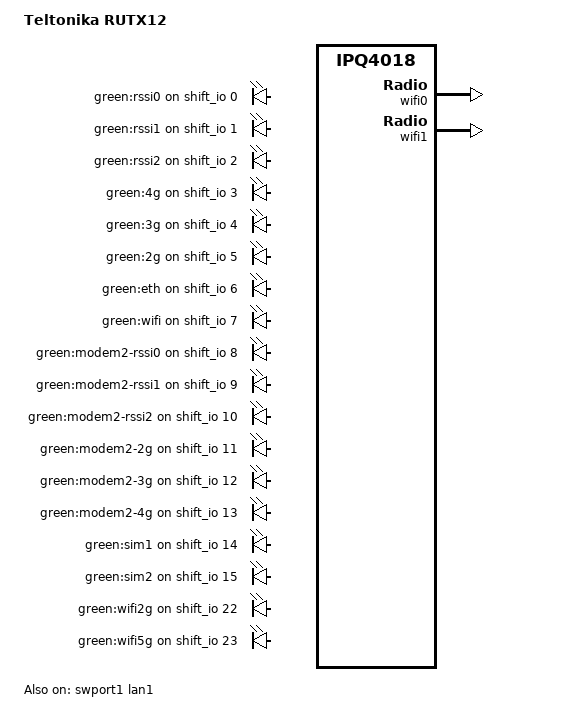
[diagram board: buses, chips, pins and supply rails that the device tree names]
// SPDX-License-Identifier: GPL-2.0-or-later OR MIT

#include "qcom-ipq4018-rutx-shiftreg.dtsi"

/ {
	model = "Teltonika RUTX12";
	compatible = "teltonika,rutx12";

	aliases {
		led-boot = &led_rssi0;
		led-failsafe = &led_rssi0;
		led-running = &led_rssi0;
		led-upgrade = &led_rssi0;
	};

	soc {
		gpio-export {
			gpio_out {
				gpio-export,name = "gpio_out";
				gpio-export,output = <0>;
				gpios = <&shift_io 20 GPIO_ACTIVE_HIGH>;
			};

			gpio_modem_reset {
				gpio-export,name = "modem_reset";
				gpio-export,output = <0>;
				gpios = <&shift_io 16 GPIO_ACTIVE_HIGH>;
			};

			gpio_modem_power {
				gpio-export,name = "modem_power";
				gpio-export,output = <0>;
				gpios = <&shift_io 17 GPIO_ACTIVE_HIGH>;
			};

			gpio_modem2_reset {
				gpio-export,name = "modem2_reset";
				gpio-export,output = <0>;
				gpios = <&shift_io 18 GPIO_ACTIVE_HIGH>;
			};

			gpio_modem2_power {
				gpio-export,name = "modem2_power";
				gpio-export,output = <0>;
				gpios = <&shift_io 19 GPIO_ACTIVE_HIGH>;
			};

			gpio_sim_select {
				gpio-export,name = "sim_sel";
				/* 0 = SIM1 ; 1 = SIM2 */
				gpio-export,output = <0>;
				gpios = <&shift_io 25 GPIO_ACTIVE_HIGH>;
			};

			gpio_sim_select2 {
				gpio-export,name = "sim_sel2";
				gpio-export,output = <0>;
				gpios = <&shift_io 26 GPIO_ACTIVE_HIGH>;
			};

			gpio_bt_reset {
				gpio-export,name = "bt_reset";
				gpio-export,output = <0>;
				gpio-export,toggle = <100>; // ms
				gpios = <&shift_io 27 GPIO_ACTIVE_HIGH>;
			};

			gpio_tpm_reset {
				gpio-export,name = "tpm_reset";
				gpio-export,output = <1>;
				gpios = <&tlmm 5 GPIO_ACTIVE_HIGH>;
			};
		};

		leds {
			compatible = "gpio-leds";

			led_rssi0: led-0 {
				label = "green:rssi0";
				gpios = <&shift_io 0 GPIO_ACTIVE_HIGH>;
			};

			led-1 {
				label = "green:rssi1";
				gpios = <&shift_io 1 GPIO_ACTIVE_HIGH>;
			};

			led-2 {
				label = "green:rssi2";
				gpios = <&shift_io 2 GPIO_ACTIVE_HIGH>;
			};

			led-3 {
				label = "green:4g";
				gpios = <&shift_io 3 GPIO_ACTIVE_HIGH>;
			};

			led-4 {
				label = "green:3g";
				gpios = <&shift_io 4 GPIO_ACTIVE_HIGH>;
			};

			led-5 {
				label = "green:2g";
				gpios = <&shift_io 5 GPIO_ACTIVE_HIGH>;
			};

			led-6 {
				label = "green:eth";
				gpios = <&shift_io 6 GPIO_ACTIVE_HIGH>;
			};

			led-7 {
				label = "green:wifi";
				gpios = <&shift_io 7 GPIO_ACTIVE_HIGH>;
			};

			led-8 {
				label = "green:modem2-rssi0";
				gpios = <&shift_io 8 GPIO_ACTIVE_HIGH>;
			};

			led-9 {
				label = "green:modem2-rssi1";
				gpios = <&shift_io 9 GPIO_ACTIVE_HIGH>;
			};

			led-10 {
				label = "green:modem2-rssi2";
				gpios = <&shift_io 10 GPIO_ACTIVE_HIGH>;
			};

			led-11 {
				label = "green:modem2-2g";
				gpios = <&shift_io 11 GPIO_ACTIVE_HIGH>;
			};

			led-12 {
				label = "green:modem2-3g";
				gpios = <&shift_io 12 GPIO_ACTIVE_HIGH>;
			};

			led-13 {
				label = "green:modem2-4g";
				gpios = <&shift_io 13 GPIO_ACTIVE_HIGH>;
			};

			led-14 {
				label = "green:sim1";
				gpios = <&shift_io 14 GPIO_ACTIVE_HIGH>;
			};

			led-15 {
				label = "green:sim2";
				gpios = <&shift_io 15 GPIO_ACTIVE_HIGH>;
			};

			led-16 {
				label = "green:wifi2g";
				gpios = <&shift_io 22 GPIO_ACTIVE_HIGH>;
				linux,default-trigger = "phy0tpt";
			};

			led-17 {
				label = "green:wifi5g";
				gpios = <&shift_io 23 GPIO_ACTIVE_HIGH>;
				linux,default-trigger = "phy1tpt";
			};
		};
	};
};

&shift_io {
	registers-number = <4>;
};

/* Four LAN ports on switch ports 1-4 (the shared include maps 2-4 only) */
&swport1 {
	status = "okay";

	label = "lan1";
};

&swport2 {
	label = "lan2";
};

&swport3 {
	label = "lan3";
};

&swport4 {
	label = "lan4";
};

&wifi0 {
	status = "okay";
	qcom,ath10k-calibration-variant = "Teltonika-RUTX10";
};

&wifi1 {
	status = "okay";
	qcom,ath10k-calibration-variant = "Teltonika-RUTX10";
};
